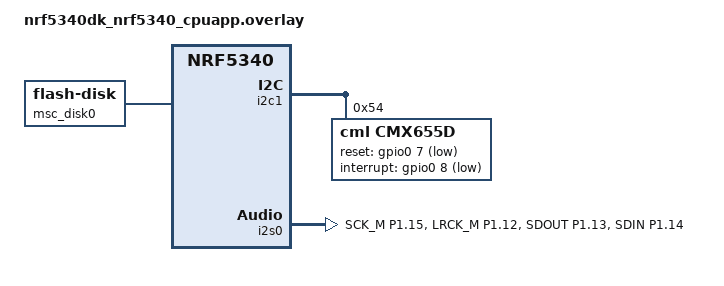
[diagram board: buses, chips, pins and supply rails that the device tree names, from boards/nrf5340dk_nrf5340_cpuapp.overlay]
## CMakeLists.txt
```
# SPDX-License-Identifier: Apache-2.0

cmake_minimum_required(VERSION 3.20.0)

# Add our modules directory to Zephyr Modules
list(APPEND ZEPHYR_EXTRA_MODULES ${CMAKE_CURRENT_SOURCE_DIR}/modules)

set(PROJ_ROOT ${CMAKE_CURRENT_SOURCE_DIR}/)
set(DTS_ROOT ${CMAKE_CURRENT_SOURCE_DIR}/dts)
set(BOARD_ROOT ${CMAKE_CURRENT_LIST_DIR})

find_package(Zephyr REQUIRED HINTS $ENV{ZEPHYR_BASE})
project(cmx655_sample)

if((NOT CONFIG_DISK_DRIVER_FLASH) AND
   (NOT CONFIG_DISK_DRIVER_RAM) AND
   (NOT CONFIG_DISK_DRIVER_SDMMC))
	message( FATAL_ERROR "No disk access settings detected." )
endif()

# FILE(GLOB app_sources src/*.c)
# target_sources(app PRIVATE ${app_sources})
add_subdirectory(src)

if(CONFIG_BUILD_WITH_TFM)
  target_include_directories(app PRIVATE
    $<TARGET_PROPERTY:tfm,TFM_BINARY_DIR>/install/interface/include
  )
endif()
```

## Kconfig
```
# Copyright (c) 2019-2020 Nordic Semiconductor ASA
# SPDX-License-Identifier: Apache-2.0

config APP_WIPE_STORAGE
	bool "Option to clear the flash area before mounting"
	help
	  Use this to force an existing file system to be created.

choice
	prompt "Storage and file system type used by the application"
	default APP_MSC_STORAGE_NONE
	help
	  Specify the type of storage and file system.

config APP_MSC_STORAGE_NONE
	bool "Use RAM disk as block device"
	imply DISK_DRIVER_RAM

config APP_MSC_STORAGE_RAM
	bool "Use RAM disk and FAT file system"
	imply DISK_DRIVER_RAM
	imply FILE_SYSTEM
	imply FAT_FILESYSTEM_ELM

config APP_MSC_STORAGE_FLASH_FATFS
	bool "Use FLASH disk and FAT file system"
	imply DISK_DRIVER_FLASH
	imply FILE_SYSTEM
	imply FAT_FILESYSTEM_ELM

config APP_MSC_STORAGE_FLASH_LITTLEFS
	bool "Use FLASH disk and LittleFS"
	imply DISK_DRIVER_FLASH
	imply FILE_SYSTEM
	imply FILE_SYSTEM_LITTLEFS

config APP_MSC_STORAGE_SDCARD
	bool "Use SDHC and FAT file system"
	imply DISK_DRIVER_SDMMC
	imply FILE_SYSTEM
	imply FAT_FILESYSTEM_ELM

endchoice

config DISK_RAM_VOLUME_SIZE
	default 32 if APP_MSC_STORAGE_NONE

config MASS_STORAGE_DISK_NAME
	default "NAND" if DISK_DRIVER_FLASH
	default "RAM" if DISK_DRIVER_RAM
	default "SD" if DISK_DRIVER_SDMMC

if DISK_DRIVER_FLASH

config FLASH_MAP
	default y

config FLASH_PAGE_LAYOUT
	default y

config FLASH_LOG_LEVEL
	default 3

if NORDIC_QSPI_NOR

config NORDIC_QSPI_NOR_FLASH_LAYOUT_PAGE_SIZE
	default 4096

endif # NORDIC_QSPI_NOR

endif # DISK_DRIVER_FLASH

source "Kconfig.zephyr"
rsource "src/Kconfig"
```

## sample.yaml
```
sample:
  name: Mass Storage
tests:
  sample.usb.mass_ram_none:
    min_ram: 64
    depends_on: usb_device
    platform_exclude: native_posix native_posix_64
    extra_configs:
        - CONFIG_LOG_DEFAULT_LEVEL=3
    tags: msd usb
    harness: console
    harness_config:
      type: multi_line
      ordered: True
      regex:
        - "No file system selected"
        - "The device is put in USB mass storage mode."
  sample.usb.mass_ram_fat:
    min_ram: 128
    depends_on: usb_device
    platform_exclude: native_posix native_posix_64
    extra_configs:
        - CONFIG_LOG_DEFAULT_LEVEL=3
        - CONFIG_APP_MSC_STORAGE_RAM=y
    tags: msd usb
    harness: console
    harness_config:
      type: multi_line
      ordered: True
      regex:
        - "End of files"
        - "The device is put in USB mass storage mode."
  sample.usb.mass_flash_fatfs:
    min_ram: 32
    modules:
      - fatfs
    depends_on: usb_device
    filter: dt_compat_enabled("nordic,qspi-nor")
    platform_allow: nrf52840dk_nrf52840 nrf5340dk_nrf5340_cpuapp adafruit_feather_nrf52840
    integration_platforms:
      - nrf52840dk_nrf52840
    extra_configs:
        - CONFIG_LOG_DEFAULT_LEVEL=3
        - CONFIG_APP_MSC_STORAGE_FLASH_FATFS=y
    tags: msd usb
    harness: console
    harness_config:
      type: multi_line
      ordered: True
      regex:
        - "End of files"
        - "The device is put in USB mass storage mode."
  sample.usb.mass_sdhc_fatfs:
    min_ram: 32
    modules:
      - fatfs
    depends_on: usb_device sdhc
    extra_configs:
        - CONFIG_LOG_DEFAULT_LEVEL=3
        - CONFIG_APP_MSC_STORAGE_SDCARD=y
    tags: msd usb
    harness: console
    harness_config:
      fixture: fixture_sdcard
      type: multi_line
      ordered: True
      regex:
        - "End of files"
        - "The device is put in USB mass storage mode."
  sample.usb.mass_flash_littlefs:
    modules:
      - littlefs
    min_ram: 32
    depends_on: usb_device
    filter: dt_compat_enabled("nordic,qspi-nor")
    platform_allow: nrf52840dk_nrf52840 nrf5340dk_nrf5340_cpuapp adafruit_feather_nrf52840
    integration_platforms:
      - nrf52840dk_nrf52840
    extra_configs:
        - CONFIG_LOG_DEFAULT_LEVEL=3
        - CONFIG_APP_MSC_STORAGE_FLASH_LITTLEFS=y
    tags: msd usb
    harness: console
    harness_config:
      type: multi_line
      ordered: True
      regex:
        - "End of files"
        - "The device is put in USB mass storage mode."
```

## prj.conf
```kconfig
CONFIG_STDOUT_CONSOLE=y

#USB related configs
CONFIG_USB_DEVICE_STACK=y
CONFIG_USB_DEVICE_PRODUCT="Zephyr MSC sample"
CONFIG_USB_DEVICE_PID=0x0008
CONFIG_LOG=y
CONFIG_USB_DRIVER_LOG_LEVEL_ERR=y
CONFIG_USB_MASS_STORAGE=y
CONFIG_USB_DEVICE_LOG_LEVEL_ERR=y
CONFIG_USB_MASS_STORAGE_LOG_LEVEL_ERR=y
CONFIG_USB_DEVICE_INITIALIZE_AT_BOOT=n

CONFIG_APP_MSC_STORAGE_FLASH_FATFS=y

CONFIG_I2C=y
CONFIG_CMX655D=y
#CONFIG_CMX655D_INTERRUPT=y

#-------------------------------------------------------------- I2S
CONFIG_I2S=y

#-------------------------------------------------------------- Compiler and heap configurations
CONFIG_MAIN_STACK_SIZE=4096
CONFIG_HEAP_MEM_POOL_SIZE=30720
CONFIG_NEWLIB_LIBC=y
#CONFIG_NEWLIB_LIBC_NANO=n
#CONFIG_HAS_NEWLIB_LIBC_NANO=n
CONFIG_NEWLIB_LIBC_FLOAT_PRINTF=y
CONFIG_CBPRINTF_FP_SUPPORT=y

#-------------------------------------------------------------- App config
CONFIG_LIB_AUDIO=y
CONFIG_LIB_AUDIO_CODEC_CMX655D=y
CONFIG_LIB_AUDIO_SAMPLE_RATE=8000
CONFIG_LIB_AUDIO_NUM_CHANNEL=2
CONFIG_LIB_AUDIO_BPS=16
CONFIG_LIB_AUDIO_MAX_REC_FILE_SIZE_KB=500
```

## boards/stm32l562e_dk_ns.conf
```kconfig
#
# Copyright (c) 2022 O.S.Systems
#
# SPDX-License-Identifier: Apache-2.0
#
CONFIG_MAIN_STACK_SIZE=2048
CONFIG_MINIMAL_LIBC_MALLOC_ARENA_SIZE=8192

CONFIG_DISK_ACCESS=y
CONFIG_DISK_DRIVERS=y
CONFIG_DISK_DRIVER_SDMMC=y

CONFIG_FILE_SYSTEM=y
CONFIG_FAT_FILESYSTEM_ELM=y

CONFIG_APP_MSC_STORAGE_SDCARD=y
CONFIG_SDMMC_STM32_HWFC=y

CONFIG_BUILD_WITH_TFM=y
CONFIG_TFM_PROFILE_TYPE_LARGE=y
```

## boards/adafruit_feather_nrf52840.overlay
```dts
/*
 * Copyright (c) 2020 Teslabs Engineering S.L.
 *
 * SPDX-License-Identifier: Apache-2.0
 */

/delete-node/ &storage_partition;

&gd25q16 {
	partitions {
		compatible = "fixed-partitions";
		#address-cells = <1>;
		#size-cells = <1>;

		storage_partition: partition@0 {
			label = "storage";
			reg = <0x00000000 0x00200000>;
		};
	};
};

/ {
	msc_disk0 {
		compatible = "zephyr,flash-disk";
		partition = <&storage_partition>;
		disk-name = "NAND";
		cache-size = <4096>;
	};
};
```

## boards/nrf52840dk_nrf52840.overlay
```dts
/*
 * Copyright (c) 2019 Peter Bigot Consulting, LLC
 *
 * SPDX-License-Identifier: Apache-2.0
 */

/delete-node/ &storage_partition;

&mx25r64 {
	partitions {
		compatible = "fixed-partitions";
		#address-cells = <1>;
		#size-cells = <1>;

		storage_partition: partition@0 {
			label = "storage";
			reg = <0x00000000 0x00020000>;
		};
	};
};

/ {
	msc_disk0 {
		compatible = "zephyr,flash-disk";
		partition = <&storage_partition>;
		disk-name = "NAND";
		cache-size = <4096>;
	};
};
```

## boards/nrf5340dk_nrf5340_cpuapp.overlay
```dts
/*
 * Copyright (c) 2020 Nordic Semiconductor ASA
 *
 * SPDX-License-Identifier: Apache-2.0
 */

 &pinctrl {
	i2s0_default_alt: i2s0_default_alt {
		group1 {
			psels = <NRF_PSEL(I2S_SCK_M, 1, 15)>,
				<NRF_PSEL(I2S_LRCK_M, 1, 12)>,
				<NRF_PSEL(I2S_SDOUT, 1, 13)>,
				<NRF_PSEL(I2S_SDIN, 1, 14)>;
		};
	};
};

&i2c1 {
/* 	status = "okay";
	pinctrl-0 = <&i2c1_default>;
	pinctrl-1 = <&i2c1_sleep>;
	pinctrl-names = "default", "sleep";*/

	cmx655d: cmx655d@54 {
		compatible = "cml,cmx655d";
		reg = <0x54>;
		classd-oc-reset-attempts = <5>;
		reset-gpios = <&gpio0 7 (GPIO_ACTIVE_LOW)>;
		interrupt-gpios = <&gpio0 8 (GPIO_PULL_UP | GPIO_ACTIVE_LOW)>;
	};
};

&clock {
	hfclkaudio-frequency = <11289600>;
};

i2s_rxtx: &i2s0 {
	status = "okay";
	pinctrl-0 = <&i2s0_default_alt>;
	pinctrl-names = "default";
	clock-source = "ACLK";
};

/delete-node/ &storage_partition;

&mx25r64 {
	partitions {
		compatible = "fixed-partitions";
		#address-cells = <1>;
		#size-cells = <1>;

		storage_partition: partition@0 {
			label = "storage";
			reg = <0x00000000 0x00800000>;
		};
	};
};

/ {
	msc_disk0 {
		compatible = "zephyr,flash-disk";
		partition = <&storage_partition>;
		disk-name = "NAND";
		cache-size = <4096>;
	};
};
```

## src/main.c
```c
/*
 * Copyright (c) 2016 Intel Corporation.
 * Copyright (c) 2019-2020 Nordic Semiconductor ASA
 *
 * SPDX-License-Identifier: Apache-2.0
 */

#define ONLY_PLAYBACK	0

#include <zephyr/kernel.h>
#include <zephyr/logging/log.h>
#include <zephyr/usb/usb_device.h>
#include <zephyr/fs/fs.h>
#include <stdio.h>

LOG_MODULE_REGISTER(main);

#if CONFIG_DISK_DRIVER_FLASH
#include <zephyr/storage/flash_map.h>
#endif

#if CONFIG_FAT_FILESYSTEM_ELM
#include <ff.h>
#endif

#if CONFIG_FILE_SYSTEM_LITTLEFS
#include <zephyr/fs/littlefs.h>
FS_LITTLEFS_DECLARE_DEFAULT_CONFIG(storage);
#endif

// #include "app_audio/app_audio.h"
#include "lib_audio/lib_audio.h"

#define STORAGE_PARTITION		storage_partition
#define STORAGE_PARTITION_ID		FIXED_PARTITION_ID(STORAGE_PARTITION)

static struct fs_mount_t fs_mnt;
char m_fullpath[256];
// char m_wav_fname[32];

static int setup_flash(struct fs_mount_t *mnt)
{
	int rc = 0;
#if CONFIG_DISK_DRIVER_FLASH
	unsigned int id;
	const struct flash_area *pfa;

	mnt->storage_dev = (void *)STORAGE_PARTITION_ID;
	id = STORAGE_PARTITION_ID;

	rc = flash_area_open(id, &pfa);
	printk("Area %u at 0x%x on %s for %u bytes\n",
	       id, (unsigned int)pfa->fa_off, pfa->fa_dev->name,
	       (unsigned int)pfa->fa_size);

	if (rc < 0 && IS_ENABLED(CONFIG_APP_WIPE_STORAGE)) {
		printk("Erasing flash area ... ");
		rc = flash_area_erase(pfa, 0, pfa->fa_size);
		printk("%d\n", rc);
	}

	if (rc < 0) {
		flash_area_close(pfa);
	}
#endif
	return rc;
}

static int mount_app_fs(struct fs_mount_t *mnt)
{
	int rc;

#if CONFIG_FAT_FILESYSTEM_ELM
	static FATFS fat_fs;

	mnt->type = FS_FATFS;
	mnt->fs_data = &fat_fs;
	if (IS_ENABLED(CONFIG_DISK_DRIVER_RAM)) {
		mnt->mnt_point = "/RAM:";
	} else if (IS_ENABLED(CONFIG_DISK_DRIVER_SDMMC)) {
		mnt->mnt_point = "/SD:";
	} else {
		mnt->mnt_point = "/NAND:";
	}

#elif CONFIG_FILE_SYSTEM_LITTLEFS
	mnt->type = FS_LITTLEFS;
	mnt->mnt_point = "/lfs";
	mnt->fs_data = &storage;
#endif
	rc = fs_mount(mnt);

	return rc;
}

static void setup_disk(void)
{
	struct fs_mount_t *mp = &fs_mnt;
	struct fs_dir_t dir;
	struct fs_statvfs sbuf;
	int rc;

	fs_dir_t_init(&dir);

	if (IS_ENABLED(CONFIG_DISK_DRIVER_FLASH)) {
		rc = setup_flash(mp);
		if (rc < 0) {
			LOG_ERR("Failed to setup flash area");
			return;
		}
	}

	if (!IS_ENABLED(CONFIG_FILE_SYSTEM_LITTLEFS) &&
	    !IS_ENABLED(CONFIG_FAT_FILESYSTEM_ELM)) {
		LOG_INF("No file system selected");
		return;
	}

	rc = mount_app_fs(mp);
	if (rc < 0) {
		LOG_ERR("Failed to mount filesystem");
		return;
	}

	/* Allow log messages to flush to avoid interleaved output */
	k_sleep(K_MSEC(50));

	printk("Mount %s: %d\n", fs_mnt.mnt_point, rc);

	rc = fs_statvfs(mp->mnt_point, &sbuf);
	if (rc < 0) {
		printk("FAIL: statvfs: %d\n", rc);
		return;
	}

	printk("%s: bsize = %lu ; frsize = %lu ;"
	       " blocks = %lu ; bfree = %lu\n",
	       mp->mnt_point,
	       sbuf.f_bsize, sbuf.f_frsize,
	       sbuf.f_blocks, sbuf.f_bfree);

	rc = fs_opendir(&dir, mp->mnt_point);
	printk("%s opendir: %d\n", mp->mnt_point, rc);

	if (rc < 0) {
		LOG_ERR("Failed to open directory");
	}

	while (rc >= 0) {
		struct fs_dirent ent = { 0 };

		rc = fs_readdir(&dir, &ent);
		if (rc < 0) {
			LOG_ERR("Failed to read directory entries");
			break;
		}
		if (ent.name[0] == 0) {
			printk("End of files\n");
			break;
		}
		printk("  %c %u %s\n",
		       (ent.type == FS_DIR_ENTRY_FILE) ? 'F' : 'D',
		       ent.size,
		       ent.name);

		if (ent.type == FS_DIR_ENTRY_FILE) {
			// strcpy(m_wav_fname, ent.name);
		}
	}

	(void)fs_closedir(&dir);

	return;
}

int m_audio_state = -1;

void audio_cb(LIB_AUDIO_EVENT event)
{
	m_audio_state = event;
}

void main(void)
{
	int ret;

	setup_disk();

	ret = usb_enable(NULL);
	if (ret != 0) {
		LOG_ERR("Failed to enable USB");
		return;
	}

	LOG_INF("The device is put in USB mass storage mode.\n");

	/* init audio layer */
	// app_audio_init();
	ret = lib_audio_init((LIB_AUDIO_RECORD | LIB_AUDIO_PLAYBACK), audio_cb);
	ret = lib_audio_start();
	
	/* allow threads to start */
	k_sleep(K_MSEC(100));

	/* start playback */
#if ONLY_PLAYBACK
	const char *wav_fname = "T.WAV";
#else
	const char *wav_fname = "f.wav";
#endif
	struct fs_mount_t *mp = &fs_mnt;
	strcpy(m_fullpath, mp->mnt_point);
	strcat(m_fullpath, "/");
	strcat(m_fullpath, wav_fname);

#if ONLY_PLAYBACK
	LOG_INF("playing %s file", m_fullpath);
	lib_audio_playback(m_fullpath);
#else
	int audio_loop_count = 10;
	while (audio_loop_count-- > 0) {
		// record
		LOG_INF("Recording to %s ...", m_fullpath);
		lib_audio_record(m_fullpath);
		
		// wait
		while (m_audio_state != LIB_AUDIO_EVENT_RECORD_COMPLETE)
			k_sleep(K_MSEC(10));
		k_sleep(K_MSEC(2000));

		// play recorded file
		LOG_INF("Playing from %s ...", m_fullpath);
		lib_audio_playback(m_fullpath);

		// wait
		while (m_audio_state != LIB_AUDIO_EVENT_PLAYBACK_COMPLETE)
			k_sleep(K_MSEC(10));
		k_sleep(K_MSEC(2000));
	}
#endif
	LOG_INF("Exiting ...");
}
```
